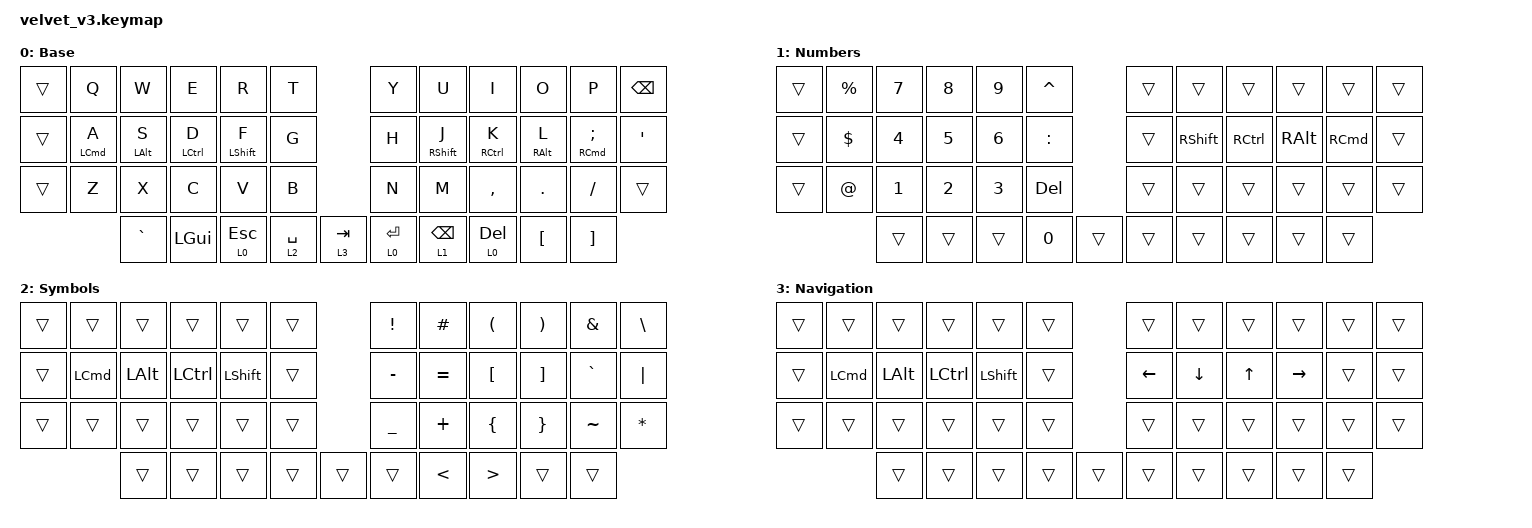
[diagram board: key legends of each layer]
#include <behaviors.dtsi>
#include <dt-bindings/zmk/keys.h>

/ {
    keymap {
        compatible = "zmk,keymap";

        Base {
            bindings = <
&trans  &kp Q               &kp W           &kp E        &kp R             &kp T                                  &kp Y            &kp U              &kp I        &kp O            &kp P                   &kp BACKSPACE
&trans  &mt LEFT_COMMAND A  &mt LEFT_ALT S  &mt LCTRL D  &mt LEFT_SHIFT F  &kp G                                  &kp H            &mt RIGHT_SHIFT J  &mt RCTRL K  &mt RIGHT_ALT L  &mt RIGHT_COMMAND SEMI  &kp SQT
&trans  &kp Z               &kp X           &kp C        &kp V             &kp B                                  &kp N            &kp M              &kp COMMA    &kp DOT          &kp SLASH               &trans
                            &kp GRAVE       &kp LGUI     &lt 0 ESC         &lt 2 SPACE  &lt 3 TAB    &lt 0 ENTER  &lt 1 BACKSPACE  &lt 0 DEL          &kp LBKT     &kp RBKT
            >;

            label = "Base";
        };

        Numbers {
            bindings = <
&trans  &kp PERCENT  &kp N7        &kp N8        &kp N9        &kp CARET                    &trans  &trans     &trans     &trans    &trans    &trans
&trans  &kp DOLLAR   &kp NUMBER_4  &kp N5        &kp NUMBER_6  &kp COLON                    &trans  &kp RSHFT  &kp RCTRL  &kp RALT  &kp RCMD  &trans
&trans  &kp AT_SIGN  &kp NUMBER_1  &kp NUMBER_2  &kp NUMBER_3  &kp DEL                      &trans  &trans     &trans     &trans    &trans    &trans
                     &trans        &trans        &trans        &kp N0     &trans    &trans  &trans  &trans     &trans     &trans
            >;

            label = "Numbers";
        };

        Symbols {
            bindings = <
&trans  &trans            &trans        &trans     &trans     &trans                    &kp EXCLAMATION  &kp HASH          &kp LEFT_PARENTHESIS  &kp RIGHT_PARENTHESIS  &kp AMPERSAND  &kp BACKSLASH
&trans  &kp LEFT_COMMAND  &kp LEFT_ALT  &kp LCTRL  &kp LSHFT  &trans                    &kp MINUS        &kp EQUAL         &kp LEFT_BRACKET      &kp RIGHT_BRACKET      &kp GRAVE      &kp PIPE
&trans  &trans            &trans        &trans     &trans     &trans                    &kp UNDERSCORE   &kp PLUS          &kp LEFT_BRACE        &kp RIGHT_BRACE        &kp TILDE      &kp ASTERISK
                          &trans        &trans     &trans     &trans  &trans    &trans  &kp LESS_THAN    &kp GREATER_THAN  &trans                &trans
            >;

            label = "Symbols";
        };

        Navigation {
            label = "Navigation";
            bindings = <
&trans  &trans            &trans        &trans     &trans     &trans                    &trans          &trans    &trans        &trans     &trans  &trans
&trans  &kp LEFT_COMMAND  &kp LEFT_ALT  &kp LCTRL  &kp LSHFT  &trans                    &kp LEFT_ARROW  &kp DOWN  &kp UP_ARROW  &kp RIGHT  &trans  &trans
&trans  &trans            &trans        &trans     &trans     &trans                    &trans          &trans    &trans        &trans     &trans  &trans
                          &trans        &trans     &trans     &trans  &trans    &trans  &trans          &trans    &trans        &trans
            >;
        };
    };
};
